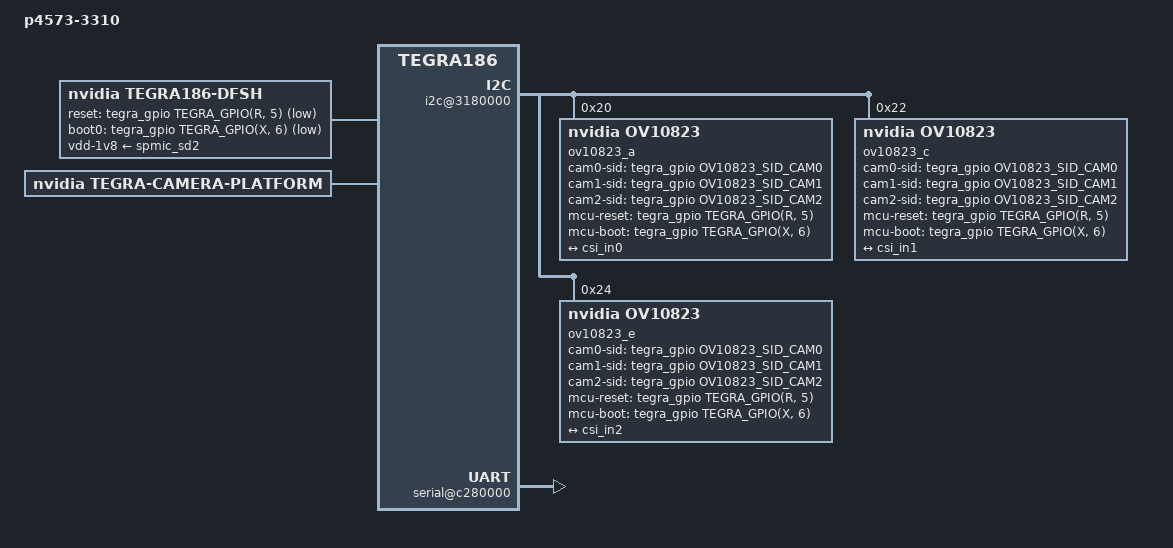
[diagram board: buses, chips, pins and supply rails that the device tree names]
/*
 * Copyright (c) 2016, NVIDIA CORPORATION.  All rights reserved.
 *
 * This program is free software; you can redistribute it and/or modify
 * it under the terms of the GNU General Public License as published by
 * the Free Software Foundation; version 2 of the License.
 *
 * This program is distributed in the hope that it will be useful, but WITHOUT
 * ANY WARRANTY; without even the implied warranty of MERCHANTABILITY or
 * FITNESS FOR A PARTICULAR PURPOSE.  See the GNU General Public License for
 * more details.
 */

#include "tegra186-quill-p3310-1000-a00-00-base.dts"
#include "tegra186-modules/tegra186-super-module-e2614-p2597-1000-a00.dtsi"

#define CAM_RST_L				TEGRA_GPIO(R, 5)
#define CAM_FLASH_EN			TEGRA_GPIO(X, 6)

#define VI_I2C_BUS			2

/* generally used camera control gpio definitions and aliases*/
#define CAM_AF_EN				TEGRA_GPIO(R, 1)
#define CAM_PWDN_FQ				TEGRA_GPIO(L, 6)
#define CAM_STROBE_EN			TEGRA_GPIO(X, 5)

/* alias */
#define CAMFI_PWDN			CAM_STROBE_EN
#define CAMRI_PWDN			CAM_STROBE_EN

/* specifically used on camera board designs */
/* NxOV10823 general */
#define OV10823_SID_CAM0	CAMRI_PWDN	/*PX5*/
#define OV10823_SID_CAM1	CAM_AF_EN	/*PR1*/
#define OV10823_SID_CAM2	CAM_PWDN_FQ	/*PL6*/

#define OV10823_DEFAULT_I2C_ADDR_SID_LOW	(0x10)
#define OV10823_DEFAULT_I2C_ADDR_SID_HIGH	(0x36)
#define OV10823_SENSOR_REG_RW_SID_LOW		(0x300c)
#define OV10823_SENSOR_REG_RW_SID_HIGH		(0x3661)

#define OV10823_I2C_ADDR_CAM0		(0x20)
#define OV10823_I2C_ADDR_CAM1		(0x22)
#define OV10823_I2C_ADDR_CAM2		(0x24)

/* ov10823 board specific */
#define OV10823_USE_OSC_FOR_MCLK	(1)
#define OV10823_NEED_I2C_RECOVERY	(0)

#define FIRST_CAM_POS				(0)
#define SECOND_CAM_POS				(1)
#define THIRD_CAM_POS				(2)

/ {
	model = "p4573-3310";
	nvidia,dtsfilename = __FILE__;

	dfsh {
		compatible = "nvidia,tegra186-dfsh";
		vdd-1v8-supply = <&spmic_sd2>;
		dfsh,reset-gpio =
			<&tegra_gpio TEGRA_GPIO(R, 5) GPIO_ACTIVE_LOW>;
		dfsh,boot0-gpio =
			<&tegra_gpio TEGRA_GPIO(X, 6) GPIO_ACTIVE_LOW>;
		status = "okay";
	};

	gpio@2200000 {
		camera-control {
			gpio-output-low = <
				TEGRA_GPIO(Q, 5)
				TEGRA_GPIO(X, 6)
				TEGRA_GPIO(R, 5)
				TEGRA_GPIO(X, 5)
				TEGRA_GPIO(R, 1)
				TEGRA_GPIO(L, 6)
				>;
		};
	};

	tegra-camera-platform {
		/delete-node/ modules;
	};

	host1x {
		vi@15700000 {
			num-channels = <3>;
			ports {
				#address-cells = <1>;
				#size-cells = <0>;
				port@0 {
					reg = <0>;
					vi_in0: endpoint {
						remote-endpoint = <&csi_out0>;
					};
				};
				port@1 {
					reg = <1>;
					vi_in1: endpoint {
						remote-endpoint = <&csi_out1>;
					};
				};
				port@2 {
					reg = <2>;
					vi_in2: endpoint {
						remote-endpoint = <&csi_out2>;
					};
				};

				/delete-node/ port@3;
			};
		};

		nvcsi@150c0000 {
			ports {
				#address-cells = <1>;
				#size-cells = <0>;
				port@0 {
					reg = <0>;
					csi_in0: endpoint@0 {
					bus-width = <4>;
					remote-endpoint = <&ov10823_out0>;
					};
				};
				port@1 {
					reg = <1>;
					csi_out0: endpoint@1 {
					remote-endpoint = <&vi_in0>;
					};
				};
				port@2 {
					reg = <2>;
					csi_in1: endpoint@2 {
					bus-width = <4>;
					remote-endpoint = <&ov10823_out1>;
					};
				};
				port@3 {
					reg = <3>;
					csi_out1: endpoint@3 {
					remote-endpoint = <&vi_in1>;
					};
				};
				port@4 {
					reg = <4>;
					csi_in2: endpoint@4 {
					bus-width = <4>;
					remote-endpoint = <&ov10823_out2>;
					};
				};
				port@5 {
					reg = <5>;
					csi_out2: endpoint@5 {
					remote-endpoint = <&vi_in2>;
					};
				};
			};
		};
	};

	backlight {
		status = "disabled";
	};

	sdhci@3400000 {
		/delete-property/ wp-gpios;
	};

	fixed-regulators {
		vdd_fan: regulator@13 {
			gpio = <&tegra_gpio TEGRA_GPIO(I, 5) 0>;
			enable-active-high;
		};
	};

	pwm-fan {
		vdd-fan-supply = <&vdd_fan>;
	};

	i2c@c240000 {
		/delete-node/ ov23850_c@36;
		/delete-node/ lc898212@1_0072;
	};

	i2c@3160000 {
		lp8557-backlight-s-wuxga-8-0@2c {
			status = "disabled";
		};
		ina3221x@40 {
			status = "disabled";
		};
		ina3221x@41 {
			status = "disabled";
		};
		ina3221x@43 {
			status = "disabled";
		};
	};

	i2c@3180000 {
		/delete-node/ ov23850_a@10;
		/delete-node/ lc898212@2_0072;

		ov10823_a@20 {
			compatible = "nvidia,ov10823";
			reg = <0x20>;

			devnode = "video0";

			/* Physical dimensions of sensor */
			physical_w = "5.440";
			physical_h = "3.072";

			clocks = <&tegra_car TEGRA186_CLK_EXTPERIPH1>,
					 <&tegra_car TEGRA186_CLK_PLLP_OUT0>;
			clock-names = "extperiph1", "pllp_grtba";
			mclk = "extperiph1";

			cam0-i2c-addr = <OV10823_I2C_ADDR_CAM0>;
			cam1-i2c-addr = <OV10823_I2C_ADDR_CAM1>;
			cam2-i2c-addr = <OV10823_I2C_ADDR_CAM2>;
			cam0-sid-gpios = <&tegra_gpio OV10823_SID_CAM0 0>;
			cam1-sid-gpios = <&tegra_gpio OV10823_SID_CAM1 0>;
			cam2-sid-gpios = <&tegra_gpio OV10823_SID_CAM2 0>;
			mcu-reset-gpios =
			<&tegra_gpio TEGRA_GPIO(R, 5) GPIO_ACTIVE_HIGH>;
			mcu-boot-gpios =
			<&tegra_gpio TEGRA_GPIO(X, 6) GPIO_ACTIVE_HIGH>;

			/**
			 * Generic formula to calculate different parameters.
			 * Please add the formula in proper parenthesis.
			 * Formula must contain only these operators '*' '/' '+' '-' '(' ')'
			 * Formula containing both numbers and variables is supported. Refer example #3.
			 * There must be atleast one operator inside the parenthesis. Refer example #4.
			 * Don't use spaces. Refer example #5.
			 *
			 * Examples -
			 * correct example
			 * 1. formula = "(powerx+powery)+(exposure*2)";
			 * correct example
			 * 2. formula = "((2*(6-1))/2)*4";
			 * correct example
			 * 3. formula = "((powerx*(6-1))/2)*4";
			 * incorrect example - extra use of parenthesis
			 * 4. formula = "((2*(6-1))*2)/(2)";
			 * incorrect example - use of spaces
			 * 5. formula = "((2*(6-1)) / 2)*4";
			 *
			 * A modeX node is required to support v4l2 driver
			 * implementation with NVIDIA camera software stack
			 *
			 * mclk_khz = "";
			 * Standard MIPI driving clock, typically 24MHz
			 *
			 * num_lanes = "";
			 * Number of lane channels sensor is programmed to output
			 *
			 * tegra_sinterface = "";
			 * The base tegra serial interface lanes are connected to
			 *
			 * discontinuous_clk = "";
			 * The sensor is programmed to use a discontinuous clock on MIPI lanes
			 *
			 * dpcm_enable = "true";
			 * The sensor is programmed to use a DPCM modes
			 *
			 * cil_settletime = "";
			 * MIPI lane settle time value.
			 * A "0" value attempts to autocalibrate based on mclk_multiplier
			 *
			 * active_w = "";
			 * Pixel active region width
			 *
			 * active_h = "";
			 * Pixel active region height
			 *
			 * pixel_t = "";
			 * The sensor readout pixel pattern
			 *
			 * readout_orientation = "0";
			 * Based on camera module orientation.
			 * Only change readout_orientation if you specifically
			 * Program a different readout order for this mode
			 *
			 * line_length = "";
			 * Pixel line length (width) for sensor mode.
			 * This is used to calibrate features in our camera stack.
			 *
			 * mclk_multiplier = "";
			 * Multiplier to MCLK to help time hardware capture sequence
			 * TODO: Assign to PLL_Multiplier as well until fixed in core
			 *
			 * pix_clk_hz = "";
			 * Sensor pixel clock used for calculations like exposure and framerate
			 *
			 * inherent_gain = "";
			 * Gain obtained inherently from mode (ie. pixel binning)
			 *
			 * min_gain_val = "";
			 * max_gain_val = "";
			 * Gain limits for mode
			 *
			 * min_exp_time = "";
			 * max_exp_time = "";
			 * Exposure Time limits for mode (us)
			 *
			 * min_hdr_ratio = "";
			 * max_hdr_ratio = "";
			 * HDR Ratio limits for mode
			 *
			 * min_framerate = "";
			 * max_framerate = "";
			 * Framerate limits for mode (fps)
			 */

			mode0 { // OV23850_MODE_5632X4224
				mclk_khz = "26000";
				num_lanes = "4";
				tegra_sinterface = "serial_a";
				discontinuous_clk = "no";
				dpcm_enable = "false";
				cil_settletime = "10";

				active_w = "4336";
				active_h = "2440";
				pixel_t = "bayer_bggr";
				readout_orientation = "0";
				line_length = "5510";
				inherent_gain = "1";
				mclk_multiplier = "25";
				pix_clk_hz = "417733000";

				min_gain_val = "1.0";
				max_gain_val = "15.5";
				min_hdr_ratio = "1";
				max_hdr_ratio = "1";
				min_framerate = "2.316241";
				max_framerate = "30";
				min_exp_time = "26";
				max_exp_time = "431629";
				max_coarse_diff = "8";
			};

			ports {
				#address-cells = <1>;
				#size-cells = <0>;

				port@0 {
					reg = <0>;
					ov10823_out0: endpoint {
						csi-port = <0>;
						bus-width = <4>;
						remote-endpoint = <&csi_in0>;
					};
				};
			};
		};
	};

	i2c@3180000 {
		ov10823_c@22 {
			compatible = "nvidia,ov10823";
			reg = <0x22>;

			devnode = "video1";

			/* Physical dimensions of sensor */
			physical_w = "5.440";
			physical_h = "3.072";

			clocks = <&tegra_car TEGRA186_CLK_EXTPERIPH1>,
					 <&tegra_car TEGRA186_CLK_PLLP_OUT0>;
			clock-names = "extperiph1", "pllp_grtba";
			mclk = "extperiph1";

			cam0-i2c-addr = <OV10823_I2C_ADDR_CAM0>;
			cam1-i2c-addr = <OV10823_I2C_ADDR_CAM1>;
			cam2-i2c-addr = <OV10823_I2C_ADDR_CAM2>;
			cam0-sid-gpios = <&tegra_gpio OV10823_SID_CAM0 0>;
			cam1-sid-gpios = <&tegra_gpio OV10823_SID_CAM1 0>;
			cam2-sid-gpios = <&tegra_gpio OV10823_SID_CAM2 0>;
			mcu-reset-gpios =
			<&tegra_gpio TEGRA_GPIO(R, 5) GPIO_ACTIVE_HIGH>;
			mcu-boot-gpios =
			<&tegra_gpio TEGRA_GPIO(X, 6) GPIO_ACTIVE_HIGH>;

			mode0 {
				mclk_khz = "26000";
				num_lanes = "4";
				tegra_sinterface = "serial_c";
				discontinuous_clk = "no";
				dpcm_enable = "false";
				cil_settletime = "10";

				active_w = "4336";
				active_h = "2440";
				pixel_t = "bayer_bggr";
				readout_orientation = "0";
				line_length = "5510";
				inherent_gain = "1";
				mclk_multiplier = "25";
				pix_clk_hz = "417733000";

				min_gain_val = "1.0";
				max_gain_val = "15.5";
				min_hdr_ratio = "1";
				max_hdr_ratio = "1";
				min_framerate = "2.316241";
				max_framerate = "30";
				min_exp_time = "26";
				max_exp_time = "431629";
				max_coarse_diff = "8";
			};

			ports {
				#address-cells = <1>;
				#size-cells = <0>;

				port@0 {
					reg = <0>;
					ov10823_out1: endpoint {
						csi-port = <2>;
						bus-width = <4>;
						remote-endpoint = <&csi_in1>;
					};
				};
			};
		};
	};

	i2c@3180000 {
		ov10823_e@24 {
			compatible = "nvidia,ov10823";
			reg = <0x24>;

			devnode = "video2";

			/* Physical dimensions of sensor */
			physical_w = "5.440";
			physical_h = "3.072";

			clocks = <&tegra_car TEGRA186_CLK_EXTPERIPH1>,
					 <&tegra_car TEGRA186_CLK_PLLP_OUT0>;
			clock-names = "extperiph1", "pllp_grtba";
			mclk = "extperiph1";

			cam0-i2c-addr = <OV10823_I2C_ADDR_CAM0>;
			cam1-i2c-addr = <OV10823_I2C_ADDR_CAM1>;
			cam2-i2c-addr = <OV10823_I2C_ADDR_CAM2>;
			cam0-sid-gpios = <&tegra_gpio OV10823_SID_CAM0 0>;
			cam1-sid-gpios = <&tegra_gpio OV10823_SID_CAM1 0>;
			cam2-sid-gpios = <&tegra_gpio OV10823_SID_CAM2 0>;
			mcu-reset-gpios =
			<&tegra_gpio TEGRA_GPIO(R, 5) GPIO_ACTIVE_HIGH>;
			mcu-boot-gpios =
			<&tegra_gpio TEGRA_GPIO(X, 6) GPIO_ACTIVE_HIGH>;

			mode0 {
				mclk_khz = "26000";
				num_lanes = "4";
				tegra_sinterface = "serial_e";
				discontinuous_clk = "no";
				dpcm_enable = "false";
				cil_settletime = "10";

				active_w = "4336";
				active_h = "2440";
				pixel_t = "bayer_bggr";
				readout_orientation = "0";
				line_length = "5510";
				inherent_gain = "1";
				mclk_multiplier = "25";
				pix_clk_hz = "417733000";

				min_gain_val = "1.0";
				max_gain_val = "15.5";
				min_hdr_ratio = "1";
				max_hdr_ratio = "1";
				min_framerate = "2.316241";
				max_framerate = "30";
				min_exp_time = "26";
				max_exp_time = "431629";
				max_coarse_diff = "8";
			};

			ports {
				#address-cells = <1>;
				#size-cells = <0>;

				port@0 {
					reg = <0>;
					ov10823_out2: endpoint {
						csi-port = <4>;
						bus-width = <4>;
						remote-endpoint = <&csi_in2>;
					};
				};
			};
		};
	};

	tegra-camera-platform {
		compatible = "nvidia, tegra-camera-platform";
		/**
		* Physical settings to calculate max ISO BW
		*
		* num_csi_lanes = <>;
		* Total number of CSI lanes when all cameras are active
		*
		* max_lane_speed = <>;
		* Max lane speed in Kbit/s
		*
		* min_bits_per_pixel = <>;
		* Min bits per pixel
		*
		* vi_peak_byte_per_pixel = <>;
		* Max byte per pixel for the VI ISO case
		*
		* vi_bw_margin_pct = <>;
		* Vi bandwidth margin in percentage
		*
		* max_pixel_rate = <>;
		* Max pixel rate in Kpixel/s for the ISP ISO case
		*
		* isp_peak_byte_per_pixel = <>;
		* Max byte per pixel for the ISP ISO case
		*
		* isp_bw_margin_pct = <>;
		* Isp bandwidth margin in percentage
		*/
		num_csi_lanes = <8>;
		max_lane_speed = <1500000>;
		min_bits_per_pixel = <10>;
		vi_peak_byte_per_pixel = <2>;
		vi_bw_margin_pct = <25>;
		max_pixel_rate = <750000>;
		isp_peak_byte_per_pixel = <5>;
		isp_bw_margin_pct = <25>;

		/**
		 * The general guideline for naming badge_info contains 3 parts, and is as
		 * follows, The first part is the camera_board_id for the module; if the module
		 * is in a FFD platform, then use the platform name for this part.
		 * The second part contains the position of the module, ex. “rear” or “front”.
		 * The third part contains the last 6 characters of a part number which is found
		 * in the module's specsheet from the vender.
		 */

		modules {
			module0 {
				badge = "p4572_bottom_ov10823";
				position = "bottom";
				orientation = "0";
				drivernode0 {
					/* Declare PCL support driver (classically known as guid) */
					pcl_id = "v4l2_soc_sensor";
					/* Declare the device-tree hierarchy to driver instance */
					proc-device-tree =
				"/proc/device-tree/i2c@3180000/ov10823_a@20";
				};
			};
			module1 {
				badge = "p4572_center_ov10823";
				position = "center";
				orientation = "0";
				drivernode0 {
					/* Declare PCL support driver (classically known as guid) */
					pcl_id = "v4l2_soc_sensor";
					/* Declare the device-tree hierarchy to driver instance */
					proc-device-tree =
				"/proc/device-tree/i2c@3180000/ov10823_c@22";
				};
			};
			module2 {
				badge = "p4572_top_ov10823";
				position = "top";
				orientation = "0";
				drivernode0 {
					/* Declare PCL support driver (classically known as guid) */
					pcl_id = "v4l2_soc_sensor";
					/* Declare the device-tree hierarchy to driver instance */
					proc-device-tree =
				"/proc/device-tree/i2c@3180000/ov10823_e@24";
				};
			};
		};
	};

	pinmux@2430000 {
		pinctrl-names = "default";
		pinctrl-0 = <&pinmux_default>;
		pinmux_default: common {
			directdc1_out3_pq5 {
				nvidia,pins = "directdc1_out3_pq5";
				nvidia,function = "rsvd1";
				nvidia,pull = <TEGRA_PIN_PULL_NONE>;
				nvidia,tristate = <TEGRA_PIN_DISABLE>;
				nvidia,enable-input = <TEGRA_PIN_DISABLE>;
			};
			gp_pwm6_pl6 {
				nvidia,pins = "gp_pwm6_pl6";
				nvidia,function = "rsvd1";
				nvidia,pull = <TEGRA_PIN_PULL_NONE>;
				nvidia,tristate = <TEGRA_PIN_DISABLE>;
				nvidia,enable-input = <TEGRA_PIN_DISABLE>;
			};
			qspi_cs_n_pr5 {
				nvidia,pins = "qspi_cs_n_pr5";
				nvidia,function = "rsvd1";
				nvidia,pull = <TEGRA_PIN_PULL_NONE>;
				nvidia,tristate = <TEGRA_PIN_DISABLE>;
				nvidia,enable-input = <TEGRA_PIN_DISABLE>;
			};
		};
	};

	spdif_dit {
		status = "disabled";
	};

	serial@c280000 {
		status = "okay";
	};

	sound {
		status = "disabled";
	};
};
